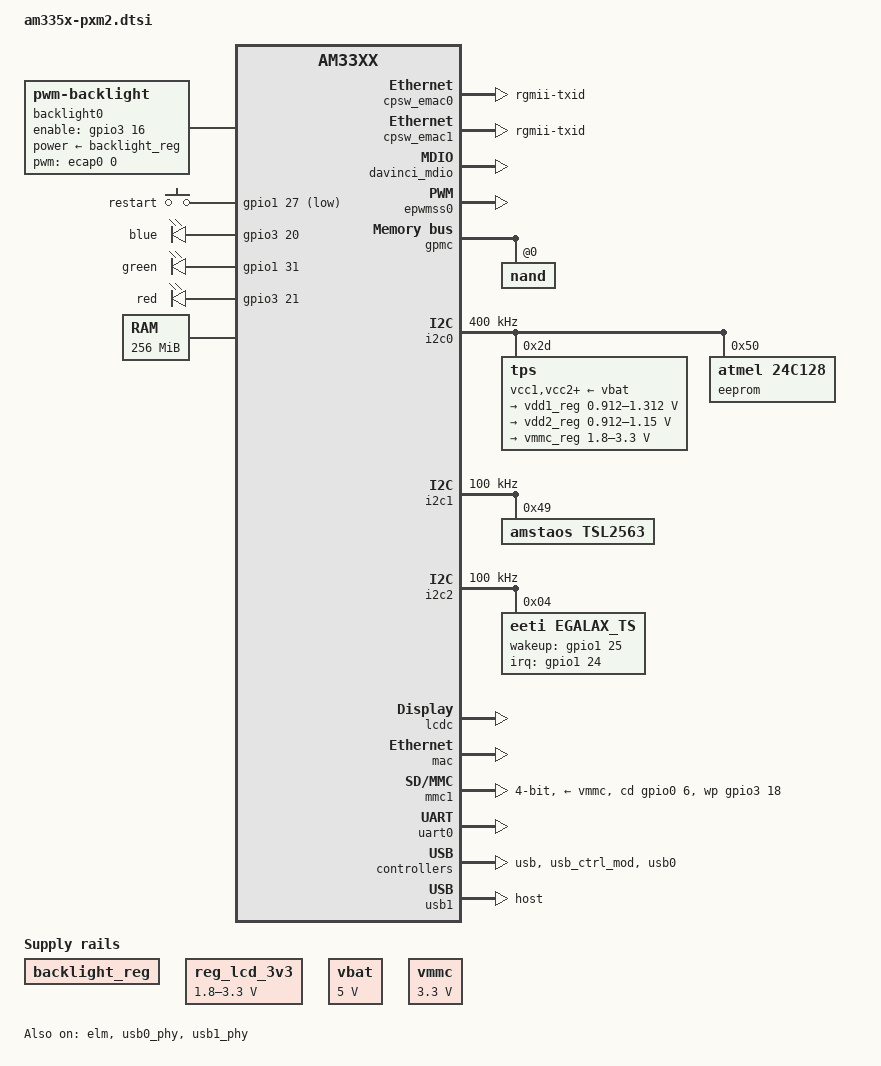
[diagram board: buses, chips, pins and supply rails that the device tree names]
/*
 * Copyright (C) 2014 DENX Software Engineering GmbH
 * Heiko Schocher <hs@denx.de>
 *
 * Based on:
 * Copyright (C) 2012 Texas Instruments Incorporated - http://www.ti.com/
 *
 * This program is free software; you can redistribute it and/or modify
 * it under the terms of the GNU General Public License version 2 as
 * published by the Free Software Foundation.
 */

#include "am33xx.dtsi"
#include <dt-bindings/input/input.h>

/ {
	chosen {
		stdout-path = &uart0;
		tick-timer = &timer2;
	};

	cpus {
		cpu@0 {
			cpu0-supply = <&vdd1_reg>;
		};
	};

	backlight0: backlight {
		compatible = "pwm-backlight";
		pwms = <&ecap0 0 50000 0>;
		brightness-levels = <0 2 5 7 10 12 15 17 20 22 25 28 30 33 35
				     38 40 43 45 48 51 53 56 58 61 63 66 68 71
				     73 76 79 81 84 86 89 91 94 96 99 102 104
				     107 109 112 114 117 119 122 124 127 130
				     132 135 137 140 142 145 147 150 153 155
				     158 160 163 165 168 170 173 175 178 181
				     183 186 188 191 193 196 198 201 204 206
				     209 211 214 216 219 221 224 226 229 232
				     234 237 239 242 244 247 249 252 255>;
		default-brightness-level = <80>;
		power-supply = <&backlight_reg>;
		enable-gpios = <&gpio3 16 0>;
	};

	backlight_reg: fixedregulator0 {
		compatible = "regulator-fixed";
		regulator-name = "backlight_reg";
		regulator-boot-on;
	};

	gpio_keys: restart-keys {
		compatible = "gpio-keys";
		autorepeat;

		restart0 {
			label = "restart";
			linux,code = <KEY_RESTART>;
			gpios = <&gpio1 27 GPIO_ACTIVE_LOW>;
			gpio-key,wakeup;
		};
	};

	leds {
		compatible = "gpio-leds";

		led_blue {
			label = "blue";
			gpios = <&gpio3 20 0>;
		};
		led_green {
			label = "green";
			gpios = <&gpio1 31 0>;
		};
		led_red {
			label = "red";
			gpios = <&gpio3 21 0>;
		};
	};

	memory {
		device_type = "memory";
		reg = <0x80000000 0x10000000>; /* 256 MB */
	};

	reg_lcd_3v3: fixedregulator1 {
		compatible = "regulator-gpio";
                regulator-name = "lcd-3v3";
		regulator-min-microvolt = <1800000>;
                regulator-max-microvolt = <3300000>;
		regulator-type = "voltage";
		startup-delay-us = <100>;
		states = <1800000 0x1
			  2900000 0x0>;
		enable-at-boot;
                gpios = <&gpio3 19 0>;
                enable-active-high;
        };

	vbat: fixedregulator2 {
		compatible = "regulator-fixed";
		regulator-name = "vbat";
		regulator-min-microvolt = <5000000>;
		regulator-max-microvolt = <5000000>;
		regulator-boot-on;
	};

	vmmc: fixedregulator3 {
		compatible = "regulator-fixed";
		regulator-name = "vmmc";
		regulator-min-microvolt = <3300000>;
		regulator-max-microvolt = <3300000>;
	};
};

&cppi41dma  {
	status = "okay";
};

&cpsw_emac0 {
	phy_id = <&davinci_mdio>, <0>;
	phy-mode = "rgmii-txid";
};

&cpsw_emac1 {
	phy_id = <&davinci_mdio>, <1>;
	phy-mode = "rgmii-txid";
};

&davinci_mdio {
	pinctrl-names = "default", "sleep";
	pinctrl-0 = <&davinci_mdio_default>;
	pinctrl-1 = <&davinci_mdio_sleep>;
	status = "okay";
};

&elm {
	status = "okay";
};

&epwmss0 {
	status = "okay";

	ecap0: ecap@48300100 {
		status = "okay";
		pinctrl-names = "default";
		pinctrl-0 = <&ecap0_pins>;
	};
};

&gpmc {
	pinctrl-names = "default";
	pinctrl-0 = <&nandflash_pins>;
	status = "okay";

	ranges = <0 0 0x08000000 0x10000000>;	/* CS0: NAND */

	nand@0,0 {
		reg = <0 0 0>; /* CS0, offset 0 */
		nand-bus-width = <8>;
		ti,nand-ecc-opt = "bch8";
		gpmc,device-nand = "true";
		gpmc,device-width = <1>;
		gpmc,sync-clk-ps = <0>;
		gpmc,cs-on-ns = <0>;
		gpmc,cs-rd-off-ns = <44>;
		gpmc,cs-wr-off-ns = <44>;
		gpmc,adv-on-ns = <6>;
		gpmc,adv-rd-off-ns = <34>;
		gpmc,adv-wr-off-ns = <44>;
		gpmc,we-on-ns = <0>;
		gpmc,we-off-ns = <40>;
		gpmc,oe-on-ns = <0>;
		gpmc,oe-off-ns = <54>;
		gpmc,access-ns = <64>;
		gpmc,rd-cycle-ns = <82>;
		gpmc,wr-cycle-ns = <82>;
		gpmc,wait-on-read = "true";
		gpmc,wait-on-write = "true";
		gpmc,bus-turnaround-ns = <0>;
		gpmc,cycle2cycle-delay-ns = <0>;
		gpmc,clk-activation-ns = <0>;
		gpmc,wait-monitoring-ns = <0>;
		gpmc,wr-access-ns = <40>;
		gpmc,wr-data-mux-bus-ns = <0>;

		#address-cells = <1>;
		#size-cells = <1>;
		elm_id = <&elm>;
	};
};

&i2c0 {
	pinctrl-names = "default";
	pinctrl-0 = <&i2c0_pins>;
	clock-frequency = <400000>;
	status = "okay";

	tps: tps@2d {
		reg = <0x2d>;
	};
	eeprom: eeprom@50 {
		compatible = "atmel,24c128";
		reg = <0x50>;
		pagesize = <32>;
	};
};

&i2c1 {
	pinctrl-names = "default";
	pinctrl-0 = <&i2c1_pins>;
	clock-frequency = <100000>;
	status = "okay";

	tsl2563: tsl2563@49 {
		compatible = "amstaos,tsl2563";
		reg = <0x49>;
	};
};

&i2c2 {
	pinctrl-names = "default";
	pinctrl-0 = <&i2c2_pins>;
	clock-frequency = <100000>;
	status = "okay";

	egalax_ts@04 {
		compatible = "eeti,egalax_ts";
		reg = <0x04>;
		interrupt-parent = <&gpio1>;
		interrupts = <24 2>;
		wakeup-gpios = <&gpio1 25 0>;
	};
};

&lcdc {
	status = "okay";
};

&mac {
	pinctrl-names = "default", "sleep";
	pinctrl-0 = <&cpsw_default>;
	pinctrl-1 = <&cpsw_sleep>;
	status = "okay";
};

&mmc1 {
	vmmc-supply = <&vmmc>;
	bus-width = <4>;
	cd-gpios = <&gpio0 6 0>;
	wp-gpios = <&gpio3 18 0>;
	status = "okay";
};

&phy_sel {
	rgmii-no-delay;
};

#include "tps65910.dtsi"

&tps {
	vcc1-supply = <&vbat>;
	vcc2-supply = <&vbat>;
	vcc3-supply = <&vbat>;
	vcc4-supply = <&vbat>;
	vcc5-supply = <&vbat>;
	vcc6-supply = <&vbat>;
	vcc7-supply = <&vbat>;
	vccio-supply = <&vbat>;

	regulators {
		vrtc_reg: regulator@0 {
			regulator-always-on;
		};

		vio_reg: regulator@1 {
			regulator-always-on;
		};

		vdd1_reg: regulator@2 {
			/* VDD_MPU voltage limits 0.95V - 1.26V with +/-4% tolerance */
			regulator-name = "vdd_mpu";
			regulator-min-microvolt = <912500>;
			regulator-max-microvolt = <1312500>;
			regulator-boot-on;
			regulator-always-on;
		};

		vdd2_reg: regulator@3 {
			/* VDD_CORE voltage limits 0.95V - 1.1V with +/-4% tolerance */
			regulator-name = "vdd_core";
			regulator-min-microvolt = <912500>;
			regulator-max-microvolt = <1150000>;
			regulator-boot-on;
			regulator-always-on;
		};

		vdd3_reg: regulator@4 {
			regulator-always-on;
		};

		vdig1_reg: regulator@5 {
			regulator-always-on;
		};

		vdig2_reg: regulator@6 {
			regulator-always-on;
		};

		vpll_reg: regulator@7 {
			regulator-always-on;
		};

		vdac_reg: regulator@8 {
			regulator-always-on;
		};

		vaux1_reg: regulator@9 {
			regulator-always-on;
		};

		vaux2_reg: regulator@10 {
			regulator-always-on;
		};

		vaux33_reg: regulator@11 {
			regulator-always-on;
		};

		vmmc_reg: regulator@12 {
			regulator-min-microvolt = <1800000>;
			regulator-max-microvolt = <3300000>;
			regulator-always-on;
		};
	};
};

&uart0 {
	pinctrl-names = "default";
	pinctrl-0 = <&uart0_pins>;

	status = "okay";
};

&usb {
	status = "okay";
};

&usb_ctrl_mod {
	status = "okay";
};

&usb0 {
	status = "okay";
};

&usb1 {
	dr_mode = "host";
	status = "okay";
};

&usb0_phy {
	status = "okay";
};

&usb1_phy {
	status = "okay";
};

&am33xx_pinmux {
	pinctrl-names = "default";
	pinctrl-0 = <&clkout2_pin &gpio_pin>;

	clkout2_pin: pinmux_clkout2_pin {
		pinctrl-single,pins = <
			0x1b4 (PIN_OUTPUT_PULLDOWN | MUX_MODE3)	/* xdma_event_intr1.clkout2 */
		>;
	};

	cpsw_default: cpsw_default {
		pinctrl-single,pins = <
			/* Slave 1 */
			0x114 (PIN_OUTPUT_PULLDOWN | MUX_MODE2)	/* mii1_txen.rgmii1_tctl */
			0x118 (PIN_INPUT_PULLDOWN | MUX_MODE2)	/* mii1_rxdv.rgmii1_rctl */
			0x11c (PIN_OUTPUT_PULLDOWN | MUX_MODE2)	/* mii1_txd3.rgmii1_td3 */
			0x120 (PIN_OUTPUT_PULLDOWN | MUX_MODE2)	/* mii1_txd2.rgmii1_td2 */
			0x124 (PIN_OUTPUT_PULLDOWN | MUX_MODE2)	/* mii1_txd1.rgmii1_td1 */
			0x128 (PIN_OUTPUT_PULLDOWN | MUX_MODE2)	/* mii1_txd0.rgmii1_td0 */
			0x12c (PIN_OUTPUT_PULLDOWN | MUX_MODE2)	/* mii1_txclk.rgmii1_tclk */
			0x130 (PIN_INPUT_PULLDOWN | MUX_MODE2)	/* mii1_rxclk.rgmii1_rclk */
			0x134 (PIN_INPUT_PULLDOWN | MUX_MODE2)	/* mii1_rxd3.rgmii1_rd3 */
			0x138 (PIN_INPUT_PULLDOWN | MUX_MODE2)	/* mii1_rxd2.rgmii1_rd2 */
			0x13c (PIN_INPUT_PULLDOWN | MUX_MODE2)	/* mii1_rxd1.rgmii1_rd1 */
			0x140 (PIN_INPUT_PULLDOWN | MUX_MODE2)	/* mii1_rxd0.rgmii1_rd0 */
		>;
	};

	cpsw_sleep: cpsw_sleep {
		pinctrl-single,pins = <
			/* Slave 1 reset value */
			0x114 (PIN_INPUT_PULLDOWN | MUX_MODE7)
			0x118 (PIN_INPUT_PULLDOWN | MUX_MODE7)
			0x11c (PIN_INPUT_PULLDOWN | MUX_MODE7)
			0x120 (PIN_INPUT_PULLDOWN | MUX_MODE7)
			0x124 (PIN_INPUT_PULLDOWN | MUX_MODE7)
			0x128 (PIN_INPUT_PULLDOWN | MUX_MODE7)
			0x12c (PIN_INPUT_PULLDOWN | MUX_MODE7)
			0x130 (PIN_INPUT_PULLDOWN | MUX_MODE7)
			0x134 (PIN_INPUT_PULLDOWN | MUX_MODE7)
			0x138 (PIN_INPUT_PULLDOWN | MUX_MODE7)
			0x13c (PIN_INPUT_PULLDOWN | MUX_MODE7)
			0x140 (PIN_INPUT_PULLDOWN | MUX_MODE7)
		>;
	};

	davinci_mdio_default: davinci_mdio_default {
		pinctrl-single,pins = <
			/* MDIO */
			0x148 (PIN_INPUT_PULLUP | SLEWCTRL_FAST | MUX_MODE0)	/* mdio_data.mdio_data */
			0x14c (PIN_OUTPUT_PULLUP | MUX_MODE0)			/* mdio_clk.mdio_clk */
		>;
	};

	davinci_mdio_sleep: davinci_mdio_sleep {
		pinctrl-single,pins = <
			/* MDIO reset value */
			0x148 (PIN_INPUT_PULLDOWN | MUX_MODE7)
			0x14c (PIN_INPUT_PULLDOWN | MUX_MODE7)
		>;
	};

	ecap0_pins: ecap_pins {
		pinctrl-single,pins = <
			0x198 (PIN_OUTPUT_PULLUP | MUX_MODE7)	/* mcasp0_axr0.gpio3_16 Backlight enable */
			0x164 (MUX_MODE0)	/* eCAP0_in_PWM0_out.eCAP0_in_PWM0_out MODE0 */
		>;
	};


	gpio_pin: gpio_pin {
		pinctrl-single,pins = <
			0x58 (PIN_OUTPUT_PULLUP | MUX_MODE7)	/* gpmc_a6.gpio1_22 touch reset */
			0x60 (PIN_INPUT_PULLUP | MUX_MODE7)	/* gpmc_a8.gpio1_24 touch irq */
			0x64 (PIN_INPUT_PULLUP | MUX_MODE7)	/* gpmc_a9.gpio1_25 touch power */
			0x6c (PIN_INPUT_PULLUP | MUX_MODE7)	/* gpmc_a11.gpio1_27 pad14 to DFU */
			0x21c (MUX_MODE0)	/* usb0_drvvbus */
			0x234 (MUX_MODE0)	/* usb1_drvvbus */
			0x1a0 (PIN_INPUT_PULLUP | MUX_MODE4)	/* mcasp0_aclkr.mmc0_sdwp */
			0x160 (PIN_INPUT_PULLUP | MUX_MODE5)	/* spi0_cs1.mmc0_sdcd */
		>;
	};

	i2c0_pins: pinmux_i2c0_pins {
		pinctrl-single,pins = <
			0x188 (PIN_INPUT_PULLUP | MUX_MODE0)	/* i2c0_sda.i2c0_sda */
			0x18c (PIN_INPUT_PULLUP | MUX_MODE0)	/* i2c0_scl.i2c0_scl */
		>;
	};

	i2c1_pins: pinmux_i2c1_pins {
		pinctrl-single,pins = <
			0x158 (PIN_INPUT_PULLUP | MUX_MODE2)	/* spi0_d1.i2c1_sda */
			0x15c (PIN_INPUT_PULLUP | MUX_MODE2)	/* spi0_cs0.i2c1_scl */
		>;
	};

	i2c2_pins: pinmux_i2c2_pins {
		pinctrl-single,pins = <
			0x150 (PIN_INPUT_PULLUP | SLEWCTRL_FAST | MUX_MODE2)	/* spi0_sclk.i2c2_sda */
			0x154 (PIN_INPUT_PULLUP | SLEWCTRL_FAST | MUX_MODE2)	/* spi0_cs0.i2c2_scl */
		>;
	};

	lcd_pins_s0: lcd_pins_s0 {
		pinctrl-single,pins = <
			0x20 (PIN_OUTPUT_PULLDOWN | MUX_MODE1)	/* gpmc_ad8.lcd_data23 */
			0x24 (PIN_OUTPUT_PULLDOWN | MUX_MODE1)	/* gpmc_ad9.lcd_data22 */
			0x28 (PIN_OUTPUT_PULLDOWN | MUX_MODE1)	/* gpmc_ad10.lcd_data21 */
			0x2c (PIN_OUTPUT_PULLDOWN | MUX_MODE1)	/* gpmc_ad11.lcd_data20 */
			0x30 (PIN_OUTPUT_PULLDOWN | MUX_MODE1)	/* gpmc_ad12.lcd_data19 */
			0x34 (PIN_OUTPUT_PULLDOWN | MUX_MODE1)	/* gpmc_ad13.lcd_data18 */
			0x38 (PIN_OUTPUT_PULLDOWN | MUX_MODE1)	/* gpmc_ad14.lcd_data17 */
			0x3c (PIN_OUTPUT_PULLDOWN | MUX_MODE1)	/* gpmc_ad15.lcd_data16 */
			0xa0 (PIN_OUTPUT | MUX_MODE0)		/* lcd_data0.lcd_data0 */
			0xa4 (PIN_OUTPUT | MUX_MODE0)		/* lcd_data1.lcd_data1 */
			0xa8 (PIN_OUTPUT | MUX_MODE0)		/* lcd_data2.lcd_data2 */
			0xac (PIN_OUTPUT | MUX_MODE0)		/* lcd_data3.lcd_data3 */
			0xb0 (PIN_OUTPUT | MUX_MODE0)		/* lcd_data4.lcd_data4 */
			0xb4 (PIN_OUTPUT | MUX_MODE0)		/* lcd_data5.lcd_data5 */
			0xb8 (PIN_OUTPUT | MUX_MODE0)		/* lcd_data6.lcd_data6 */
			0xbc (PIN_OUTPUT | MUX_MODE0)		/* lcd_data7.lcd_data7 */
			0xc0 (PIN_OUTPUT | MUX_MODE0)		/* lcd_data8.lcd_data8 */
			0xc4 (PIN_OUTPUT | MUX_MODE0)		/* lcd_data9.lcd_data9 */
			0xc8 (PIN_OUTPUT | MUX_MODE0)		/* lcd_data10.lcd_data10 */
			0xcc (PIN_OUTPUT | MUX_MODE0)		/* lcd_data11.lcd_data11 */
			0xd0 (PIN_OUTPUT | MUX_MODE0)		/* lcd_data12.lcd_data12 */
			0xd4 (PIN_OUTPUT | MUX_MODE0)		/* lcd_data13.lcd_data13 */
			0xd8 (PIN_OUTPUT | MUX_MODE0)		/* lcd_data14.lcd_data14 */
			0xdc (PIN_OUTPUT | MUX_MODE0)		/* lcd_data15.lcd_data15 */
			0xe0 (PIN_OUTPUT_PULLDOWN | MUX_MODE0)	/* lcd_vsync.lcd_vsync */
			0xe4 (PIN_OUTPUT_PULLDOWN | MUX_MODE0)	/* lcd_hsync.lcd_hsync */
			0xe8 (PIN_OUTPUT_PULLDOWN | MUX_MODE0)	/* lcd_pclk.lcd_pclk */
			0xec (PIN_OUTPUT_PULLDOWN | MUX_MODE0)	/* lcd_ac_bias_en.lcd_ac_bias_en */
			0x194 (PIN_OUTPUT_PULLUP | MUX_MODE7)	/* mcasp0_fsx.gpio3_15 LCD enable */
		>;
	};

	nandflash_pins: pinmux_nandflash_pins {
		pinctrl-single,pins = <
			0x0 (PIN_INPUT_PULLUP | MUX_MODE0)	/* gpmc_ad0.gpmc_ad0 */
			0x4 (PIN_INPUT_PULLUP | MUX_MODE0)	/* gpmc_ad1.gpmc_ad1 */
			0x8 (PIN_INPUT_PULLUP | MUX_MODE0)	/* gpmc_ad2.gpmc_ad2 */
			0xc (PIN_INPUT_PULLUP | MUX_MODE0)	/* gpmc_ad3.gpmc_ad3 */
			0x10 (PIN_INPUT_PULLUP | MUX_MODE0)	/* gpmc_ad4.gpmc_ad4 */
			0x14 (PIN_INPUT_PULLUP | MUX_MODE0)	/* gpmc_ad5.gpmc_ad5 */
			0x18 (PIN_INPUT_PULLUP | MUX_MODE0)	/* gpmc_ad6.gpmc_ad6 */
			0x1c (PIN_INPUT_PULLUP | MUX_MODE0)	/* gpmc_ad7.gpmc_ad7 */
			0x70 (PIN_INPUT_PULLUP | MUX_MODE0)	/* gpmc_wait0.gpmc_wait0 */
			0x74 (PIN_INPUT_PULLUP | MUX_MODE7)	/* gpmc_wpn.gpio0_30 */
			0x7c (PIN_OUTPUT | MUX_MODE0)		/* gpmc_csn0.gpmc_csn0 */
			0x90 (PIN_OUTPUT | MUX_MODE0)		/* gpmc_advn_ale.gpmc_advn_ale */
			0x94 (PIN_OUTPUT | MUX_MODE0)		/* gpmc_oen_ren.gpmc_oen_ren */
			0x98 (PIN_OUTPUT | MUX_MODE0)		/* gpmc_wen.gpmc_wen */
			0x9c (PIN_OUTPUT | MUX_MODE0)		/* gpmc_be0n_cle.gpmc_be0n_cle */
		>;
	};

	uart0_pins: pinmux_uart0_pins {
		pinctrl-single,pins = <
			0x170 (PIN_INPUT_PULLUP | MUX_MODE0)	/* uart0_rxd.uart0_rxd */
			0x174 (PIN_OUTPUT_PULLDOWN | MUX_MODE0)	/* uart0_txd.uart0_txd */
		>;
	};
};

&wdt2 {
	wdt-keep-enabled;
};
